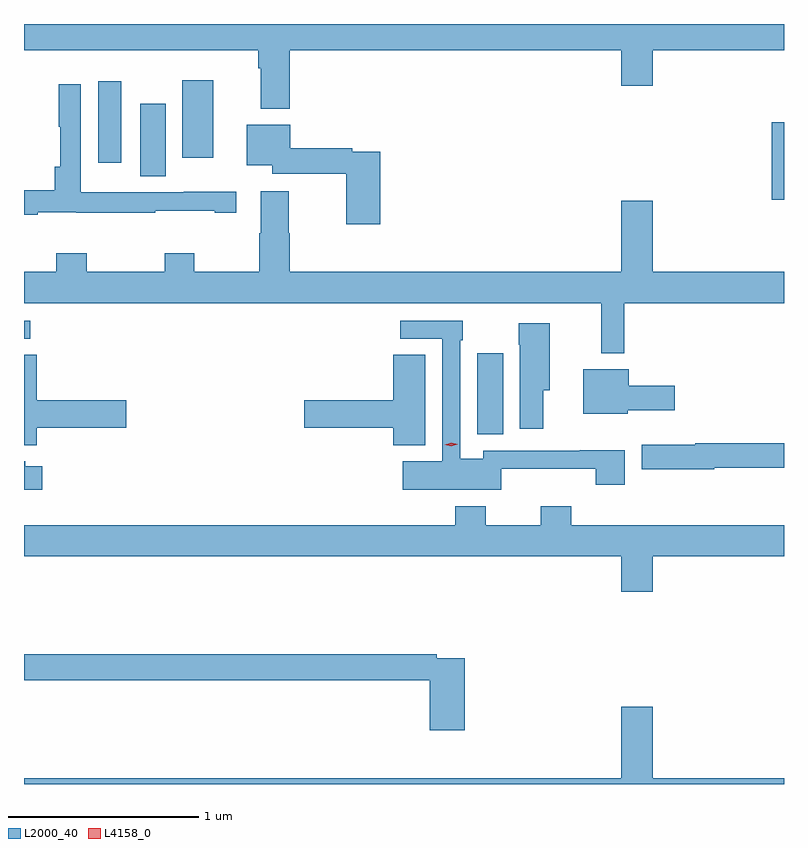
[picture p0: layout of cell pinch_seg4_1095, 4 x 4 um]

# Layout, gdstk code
import gdstk
lib = gdstk.Library(unit=1e-6, precision=1e-09)
def R(c, l, rs):  # rectangles x0, y0, x1, y1
    for r in rs: c.add(gdstk.rectangle(r[:2], r[2:], *l))
def P(c, l, *ps):  # polygons
    for p in ps: c.add(gdstk.Polygon(p, *l))
L2000_40 = (2000, 40)
L4158_0 = (4158, 0)

pinch_seg4_1095 = lib.new_cell('pinch_seg4_1095')
R(pinch_seg4_1095, L2000_40, [(404.009,793.465,404.146,793.891), (401.624,793.968,401.656,794.064), (405.56,794.699,405.624,795.109), (402.236,794.824,402.37,795.205), (402.014,794.895,402.136,795.325), (402.458,794.922,402.619,795.328)])
P(pinch_seg4_1095, L2000_40, [(403.022,795.488),(404.768,795.488),(404.768,795.3),(404.932,795.3),(404.932,795.488),(405.624,795.488),(405.624,795.625),(401.624,795.625),(401.624,795.488),(402.857,795.488),(402.857,795.392),(402.869,795.392),(402.869,795.179),(403.022,795.179)],
  [(401.696,794.633),(401.898,794.633),(401.898,794.631),(402.314,794.631),(402.314,794.641),(402.629,794.641),(402.629,794.631),(402.742,794.631),(402.742,794.741),(402.466,794.741),(402.466,794.739),(402.132,794.739),(402.132,794.74),(401.922,794.74),(401.922,795.307),(401.806,795.307),(401.806,795.083),(401.814,795.083),(401.814,794.875),(401.785,794.875),(401.785,794.75),(401.624,794.75),(401.624,794.622),(401.696,794.622)],
  [(403.499,794.952),(403.352,794.952),(403.352,794.972),(403.024,794.972),(403.024,795.094),(402.797,795.094),(402.797,794.882),(402.93,794.882),(402.93,794.836),(403.321,794.836),(403.321,794.571),(403.499,794.571)],
  [(404.783,794.156),(405.624,794.156),(405.624,794.32),(404.932,794.32),(404.932,794.695),(404.768,794.695),(404.768,794.32),(403.022,794.32),(403.022,794.525),(403.017,794.525),(403.017,794.746),(402.869,794.746),(402.869,794.525),(402.862,794.525),(402.862,794.32),(402.519,794.32),(402.519,794.419),(402.364,794.419),(402.364,794.32),(401.955,794.32),(401.955,794.419),(401.795,794.419),(401.795,794.32),(401.624,794.32),(401.624,794.156),(404.662,794.156),(404.662,793.893),(404.783,793.893)],
  [(404.136,793.283),(404.633,793.283),(404.633,793.2),(404.785,793.2),(404.785,793.382),(404.549,793.382),(404.549,793.38),(404.04,793.38),(404.04,793.336),(403.92,793.336),(403.92,793.961),(403.933,793.961),(403.933,794.064),(403.605,794.064),(403.605,793.968),(403.824,793.968),(403.824,793.324),(403.617,793.324),(403.617,793.175),(404.136,793.175)],
  [(404.356,793.697),(404.392,793.697),(404.392,794.05),(404.227,794.05),(404.227,793.937),(404.234,793.937),(404.234,793.494),(404.356,793.494)],
  [(403.735,793.883),(403.568,793.883),(403.568,793.646),(403.098,793.646),(403.098,793.499),(403.568,793.499),(403.568,793.409),(403.735,793.409)],
  [(401.692,793.499),(402.163,793.499),(402.163,793.646),(401.692,793.646),(401.692,793.883),(401.624,793.883),(401.624,793.409),(401.692,793.409)],
  [(404.802,793.592),(405.049,793.592),(405.049,793.722),(404.806,793.722),(404.806,793.807),(404.567,793.807),(404.567,793.574),(404.802,793.574)],
  [(405.258,793.29),(405.624,793.29),(405.624,793.418),(405.158,793.418),(405.158,793.411),(404.874,793.411),(404.874,793.282),(405.258,793.282)],
  [(401.719,793.297),(401.631,793.297),(401.631,793.324),(401.624,793.324),(401.624,793.175),(401.719,793.175)],
  [(404.504,793.087),(404.344,793.087),(404.344,792.988),(404.055,792.988),(404.055,793.087),(403.895,793.087),(403.895,792.988),(401.624,792.988),(401.624,792.824),(404.768,792.824),(404.768,792.636),(404.932,792.636),(404.932,792.824),(405.624,792.824),(405.624,792.988),(404.504,792.988)],
  [(403.943,792.288),(403.796,792.288),(403.796,792.308),(401.624,792.308),(401.624,792.172),(403.76,792.172),(403.76,791.907),(403.943,791.907)],
  [(405.624,791.656),(404.932,791.656),(404.932,792.031),(404.768,792.031),(404.768,791.656),(401.624,791.656),(401.624,791.625),(405.624,791.625)])
P(pinch_seg4_1095, L4158_0, [(403.873,793.402),(403.838,793.41),(403.838,793.411),(403.838,793.411),(403.872,793.422),(403.907,793.413),(403.908,793.413),(403.907,793.413)])

lib.write_gds('pinch_seg4_1095.gds')
